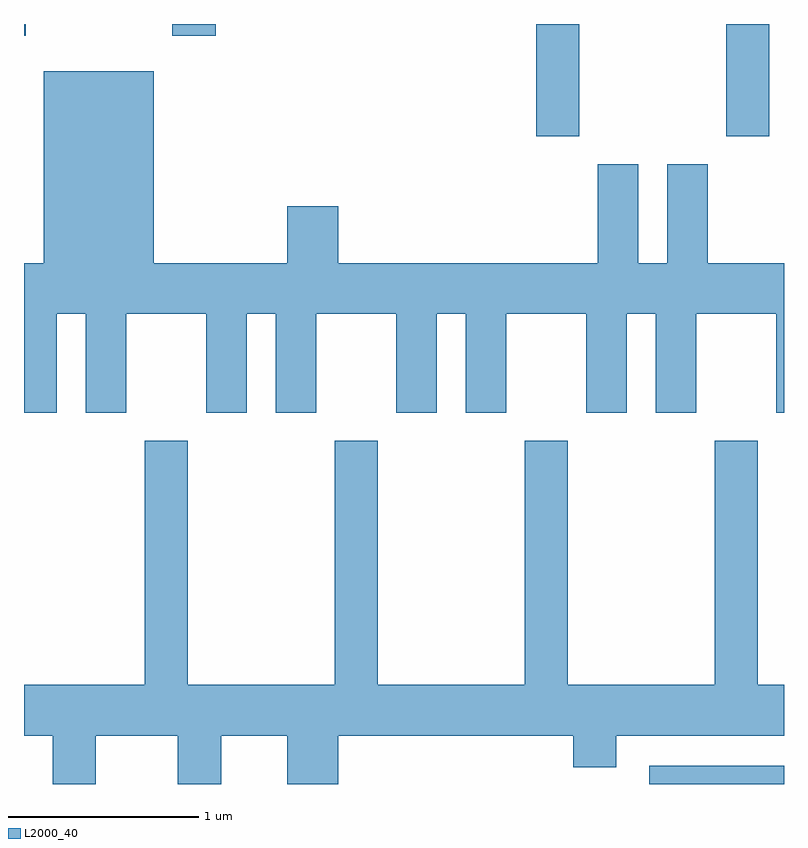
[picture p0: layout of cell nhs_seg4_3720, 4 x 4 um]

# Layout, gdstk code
import gdstk
lib = gdstk.Library(unit=1e-6, precision=1e-09)
def R(c, l, rs):  # rectangles x0, y0, x1, y1
    for r in rs: c.add(gdstk.rectangle(r[:2], r[2:], *l))
def P(c, l, *ps):  # polygons
    for p in ps: c.add(gdstk.Polygon(p, *l))
L2000_40 = (2000, 40)

nhs_seg4_3720 = lib.new_cell('nhs_seg4_3720')
R(nhs_seg4_3720, L2000_40, [(296.901,1349.982,297.611,1350.079), (296.306,1353.391,296.534,1353.982), (297.306,1353.391,297.534,1353.982), (293.611,1353.921,293.619,1353.982), (294.391,1353.921,294.619,1353.982)])
P(nhs_seg4_3720, L2000_40, [(293.784,1352.456),(293.936,1352.456),(293.936,1351.936),(294.149,1351.936),(294.149,1352.456),(294.571,1352.456),(294.571,1351.936),(294.784,1351.936),(294.784,1352.456),(294.936,1352.456),(294.936,1351.936),(295.149,1351.936),(295.149,1352.456),(295.571,1352.456),(295.571,1351.936),(295.784,1351.936),(295.784,1352.456),(295.936,1352.456),(295.936,1351.936),(296.149,1351.936),(296.149,1352.456),(296.571,1352.456),(296.571,1351.936),(296.784,1351.936),(296.784,1352.456),(296.936,1352.456),(296.936,1351.936),(297.149,1351.936),(297.149,1352.456),(297.571,1352.456),(297.571,1351.936),(297.611,1351.936),(297.611,1352.724),(297.209,1352.724),(297.209,1353.244),(296.996,1353.244),(296.996,1352.724),(296.844,1352.724),(296.844,1353.244),(296.631,1353.244),(296.631,1352.724),(295.264,1352.724),(295.264,1353.024),(294.996,1353.024),(294.996,1352.724),(294.294,1352.724),(294.294,1353.734),(293.716,1353.734),(293.716,1352.724),(293.611,1352.724),(293.611,1351.936),(293.784,1351.936)],
  [(294.474,1351.789),(294.246,1351.789),(294.246,1350.504),(293.611,1350.504),(293.611,1350.236),(293.761,1350.236),(293.761,1349.982),(293.989,1349.982),(293.989,1350.236),(294.421,1350.236),(294.421,1349.982),(294.649,1349.982),(294.649,1350.236),(294.996,1350.236),(294.996,1349.982),(295.264,1349.982),(295.264,1350.236),(296.501,1350.236),(296.501,1350.071),(296.729,1350.071),(296.729,1350.236),(297.611,1350.236),(297.611,1350.504),(297.474,1350.504),(297.474,1351.789),(297.246,1351.789),(297.246,1350.504),(296.474,1350.504),(296.474,1351.789),(296.246,1351.789),(296.246,1350.504),(295.474,1350.504),(295.474,1351.789),(295.246,1351.789),(295.246,1350.504),(294.474,1350.504)])

lib.write_gds('nhs_seg4_3720.gds')
